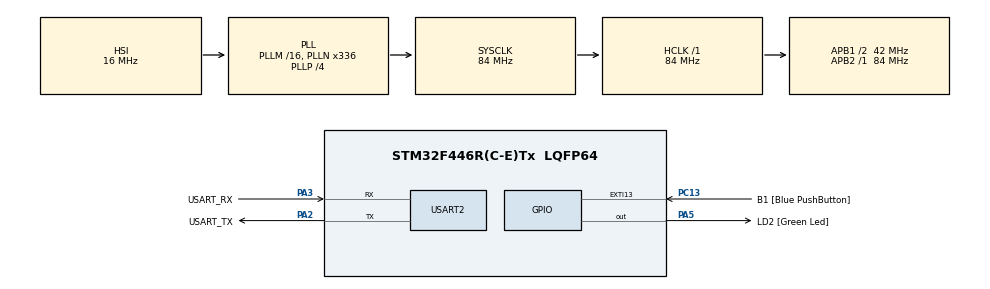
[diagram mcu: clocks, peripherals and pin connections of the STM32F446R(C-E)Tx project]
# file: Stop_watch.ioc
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Mcu.Family=STM32F4
Mcu.Name=STM32F446R(C-E)Tx
Mcu.Package=LQFP64
NVIC.EXTI15_10_IRQn=true\:0\:0\:false\:false\:true\:true\:true\:true
NVIC.PriorityGroup=NVIC_PRIORITYGROUP_0
NVIC.TIM2_IRQn=true\:0\:0\:false\:false\:true\:true\:true\:true
PA13.GPIO_Label=TMS
PA13.Mode=Serial_Wire
PA13.Signal=SYS_JTMS-SWDIO
PA14.GPIO_Label=TCK
PA14.Mode=Serial_Wire
PA14.Signal=SYS_JTCK-SWCLK
PA2.GPIO_Label=USART_TX
PA2.Mode=Asynchronous
PA2.Signal=USART2_TX
PA3.GPIO_Label=USART_RX
PA3.Mode=Asynchronous
PA3.Signal=USART2_RX
PA5.GPIO_Label=LD2 [Green Led]
PA5.Signal=GPIO_Output
PB3.GPIO_Label=SWO
PB3.Signal=SYS_JTDO-SWO
PC13.GPIO_Label=B1 [Blue PushButton]
PC13.GPIO_ModeDefaultEXTI=GPIO_MODE_IT_FALLING
PC13.Signal=GPXTI13
PC14-OSC32_IN.Mode=LSE-External-Oscillator
PC14-OSC32_IN.Signal=RCC_OSC32_IN
PC15-OSC32_OUT.Mode=LSE-External-Oscillator
PC15-OSC32_OUT.Signal=RCC_OSC32_OUT
PH0-OSC_IN.Mode=HSE-External-Oscillator
PH0-OSC_IN.Signal=RCC_OSC_IN
PH1-OSC_OUT.Mode=HSE-External-Oscillator
PH1-OSC_OUT.Signal=RCC_OSC_OUT
ProjectManager.HeapSize=0x200
ProjectManager.StackSize=0x400
ProjectManager.TargetToolchain=STM32CubeIDE
RCC.48MHZClocksFreq_Value=84000000
RCC.AHBFreq_Value=84000000
RCC.APB1CLKDivider=RCC_HCLK_DIV2
RCC.APB1Freq_Value=42000000
RCC.APB1TimFreq_Value=84000000
RCC.APB2Freq_Value=84000000
RCC.APB2TimFreq_Value=84000000
RCC.CortexFreq_Value=84000000
RCC.FLatency-AdvancedSettings=FLASH_LATENCY_2
RCC.HCLKFreq_Value=84000000
RCC.HSE_VALUE=8000000
RCC.HSI_VALUE=16000000
RCC.PLLN=336
RCC.PLLP=RCC_PLLP_DIV4
RCC.SYSCLKFreq_VALUE=84000000
RCC.SYSCLKSource=RCC_SYSCLKSOURCE_PLLCLK
RCC.USBFreq_Value=168000000
RCC.VCOOutputFreq_Value=336000000
TIM2.Period=1000-1
TIM2.Prescaler=84-1
USART2.VirtualMode=VM_ASYNC
VP_TIM2_VS_ClockSourceINT.Mode=Internal
board=NUCLEO-F446RE

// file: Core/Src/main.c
/* USER CODE BEGIN Header */
/**
 ******************************************************************************
 * @file           : main.c
 * @brief          : Main program body
 ******************************************************************************
 * @attention
 *
 * Copyright (c) 2025 STMicroelectronics.
 * All rights reserved.
 *
 * This software is licensed under terms that can be found in the LICENSE file
 * in the root directory of this software component.
 * If no LICENSE file comes with this software, it is provided AS-IS.
 *
 ******************************************************************************
 */
/* USER CODE END Header */
#include "main.h"

/* USER CODE BEGIN Includes */
#include <stdio.h>
#include <string.h>
#include <stdbool.h>
/* USER CODE END Includes */

TIM_HandleTypeDef htim2;

UART_HandleTypeDef huart2;

/* USER CODE BEGIN PV */
volatile uint32_t ms = 0;
volatile bool stopwatch_running = false;
uint32_t last_display_time = 0;
/* USER CODE END PV */

void SystemClock_Config(void);
static void MX_GPIO_Init(void);
static void MX_TIM2_Init(void);
static void MX_USART2_UART_Init(void);

/* USER CODE BEGIN 0 */
void format_stopwatch_time(uint32_t ms_time)
{
  char buffer[20];
  uint32_t hours = ms_time / 3600000;
  uint32_t minutes = (ms_time % 3600000) / 60000;
  uint32_t seconds = (ms_time % 60000) / 1000;
  uint32_t milliseconds = ms_time % 1000;

  sprintf(buffer, "%02lu:%02lu:%02lu.%03lu\r\n", hours, minutes, seconds, milliseconds);
  HAL_UART_Transmit(&huart2, (uint8_t *)buffer, strlen(buffer), HAL_MAX_DELAY);
}
/* USER CODE END 0 */

int main(void)
{

  /* MCU Configuration--------------------------------------------------------*/

  /* Reset of all peripherals, Initializes the Flash interface and the Systick. */
  HAL_Init();

  /* Configure the system clock */
  SystemClock_Config();

  /* Initialize all configured peripherals */
  MX_GPIO_Init();
  MX_TIM2_Init();
  MX_USART2_UART_Init();
  /* USER CODE BEGIN 2 */
  // Don't start timer here - start it when button is pressed
  // HAL_TIM_Base_Start(&htim2);
  HAL_UART_Transmit(&huart2, (uint8_t *)"Stopwatch Ready - Press Button to Start/Stop\r\n", 47, HAL_MAX_DELAY);
  /* USER CODE END 2 */

  /* Infinite loop */
  /* USER CODE BEGIN WHILE */
  while (1)
  {
    // Display time every 100ms when running
    if (stopwatch_running && (HAL_GetTick() - last_display_time >= 100))
    {
      format_stopwatch_time(ms);
      last_display_time = HAL_GetTick();
    }
    HAL_Delay(10); // Small delay to prevent CPU overload
  }
  /* USER CODE END WHILE */

}

void SystemClock_Config(void)
{
  RCC_OscInitTypeDef RCC_OscInitStruct = {0};
  RCC_ClkInitTypeDef RCC_ClkInitStruct = {0};

  /** Configure the main internal regulator output voltage
   */
  __HAL_RCC_PWR_CLK_ENABLE();
  __HAL_PWR_VOLTAGESCALING_CONFIG(PWR_REGULATOR_VOLTAGE_SCALE3);

  /** Initializes the RCC Oscillators according to the specified parameters
   * in the RCC_OscInitTypeDef structure.
   */
  RCC_OscInitStruct.OscillatorType = RCC_OSCILLATORTYPE_HSI;
  RCC_OscInitStruct.HSIState = RCC_HSI_ON;
  RCC_OscInitStruct.HSICalibrationValue = RCC_HSICALIBRATION_DEFAULT;
  RCC_OscInitStruct.PLL.PLLState = RCC_PLL_ON;
  RCC_OscInitStruct.PLL.PLLSource = RCC_PLLSOURCE_HSI;
  RCC_OscInitStruct.PLL.PLLM = 16;
  RCC_OscInitStruct.PLL.PLLN = 336;
  RCC_OscInitStruct.PLL.PLLP = RCC_PLLP_DIV4;
  RCC_OscInitStruct.PLL.PLLQ = 2;
  RCC_OscInitStruct.PLL.PLLR = 2;
  if (HAL_RCC_OscConfig(&RCC_OscInitStruct) != HAL_OK)
  {
    Error_Handler();
  }

  /** Initializes the CPU, AHB and APB buses clocks
   */
  RCC_ClkInitStruct.ClockType = RCC_CLOCKTYPE_HCLK | RCC_CLOCKTYPE_SYSCLK | RCC_CLOCKTYPE_PCLK1 | RCC_CLOCKTYPE_PCLK2;
  RCC_ClkInitStruct.SYSCLKSource = RCC_SYSCLKSOURCE_PLLCLK;
  RCC_ClkInitStruct.AHBCLKDivider = RCC_SYSCLK_DIV1;
  RCC_ClkInitStruct.APB1CLKDivider = RCC_HCLK_DIV2;
  RCC_ClkInitStruct.APB2CLKDivider = RCC_HCLK_DIV1;

  if (HAL_RCC_ClockConfig(&RCC_ClkInitStruct, FLASH_LATENCY_2) != HAL_OK)
  {
    Error_Handler();
  }
}

static void MX_TIM2_Init(void)
{

  TIM_ClockConfigTypeDef sClockSourceConfig = {0};
  TIM_MasterConfigTypeDef sMasterConfig = {0};

  htim2.Instance = TIM2;
  htim2.Init.Prescaler = 84 - 1;        // For 84MHz clock, this gives 1MHz timer clock
  htim2.Init.CounterMode = TIM_COUNTERMODE_UP;
  htim2.Init.Period = 1000 - 1;         // 1ms period (1MHz/1000 = 1kHz = 1ms)
  htim2.Init.ClockDivision = TIM_CLOCKDIVISION_DIV1;
  htim2.Init.AutoReloadPreload = TIM_AUTORELOAD_PRELOAD_DISABLE;
  if (HAL_TIM_Base_Init(&htim2) != HAL_OK)
  {
    Error_Handler();
  }
  sClockSourceConfig.ClockSource = TIM_CLOCKSOURCE_INTERNAL;
  if (HAL_TIM_ConfigClockSource(&htim2, &sClockSourceConfig) != HAL_OK)
  {
    Error_Handler();
  }
  sMasterConfig.MasterOutputTrigger = TIM_TRGO_RESET;
  sMasterConfig.MasterSlaveMode = TIM_MASTERSLAVEMODE_DISABLE;
  if (HAL_TIMEx_MasterConfigSynchronization(&htim2, &sMasterConfig) != HAL_OK)
  {
    Error_Handler();
  }
  /* USER CODE BEGIN TIM2_Init 2 */
  // Enable timer interrupt
  HAL_NVIC_SetPriority(TIM2_IRQn, 0, 1);
  HAL_NVIC_EnableIRQ(TIM2_IRQn);
  /* USER CODE END TIM2_Init 2 */
}

static void MX_USART2_UART_Init(void)
{

  huart2.Instance = USART2;
  huart2.Init.BaudRate = 115200;
  huart2.Init.WordLength = UART_WORDLENGTH_8B;
  huart2.Init.StopBits = UART_STOPBITS_1;
  huart2.Init.Parity = UART_PARITY_NONE;
  huart2.Init.Mode = UART_MODE_TX_RX;
  huart2.Init.HwFlowCtl = UART_HWCONTROL_NONE;
  huart2.Init.OverSampling = UART_OVERSAMPLING_16;
  if (HAL_UART_Init(&huart2) != HAL_OK)
  {
    Error_Handler();
  }
}

static void MX_GPIO_Init(void)
{
  GPIO_InitTypeDef GPIO_InitStruct = {0};

  /* GPIO Ports Clock Enable */
  __HAL_RCC_GPIOC_CLK_ENABLE();
  __HAL_RCC_GPIOH_CLK_ENABLE();
  __HAL_RCC_GPIOA_CLK_ENABLE();
  __HAL_RCC_GPIOB_CLK_ENABLE();

  /*Configure GPIO pin Output Level */
  HAL_GPIO_WritePin(LD2_GPIO_Port, LD2_Pin, GPIO_PIN_RESET);

  /*Configure GPIO pin : B1_Pin */
  GPIO_InitStruct.Pin = B1_Pin;
  GPIO_InitStruct.Mode = GPIO_MODE_IT_FALLING;
  GPIO_InitStruct.Pull = GPIO_NOPULL;
  HAL_GPIO_Init(B1_GPIO_Port, &GPIO_InitStruct);

  /*Configure GPIO pin : LD2_Pin */
  GPIO_InitStruct.Pin = LD2_Pin;
  GPIO_InitStruct.Mode = GPIO_MODE_OUTPUT_PP;
  GPIO_InitStruct.Pull = GPIO_NOPULL;
  GPIO_InitStruct.Speed = GPIO_SPEED_FREQ_LOW;
  HAL_GPIO_Init(LD2_GPIO_Port, &GPIO_InitStruct);

  /* EXTI interrupt init*/
  HAL_NVIC_SetPriority(EXTI15_10_IRQn, 0, 0);
  HAL_NVIC_EnableIRQ(EXTI15_10_IRQn);

}

/* USER CODE BEGIN 4 */
void HAL_GPIO_EXTI_Callback(uint16_t GPIO_Pin)
{
  static uint32_t last_interrupt_time = 0;
  uint32_t current_time = HAL_GetTick();

  // Debounce - ignore if pressed within 200ms
  if (current_time - last_interrupt_time < 200)
  {
    return;
  }
  last_interrupt_time = current_time;

  if (GPIO_Pin == B1_Pin) // Button pressed
  {
    if (!stopwatch_running)
    {
      // Start stopwatch
      stopwatch_running = true;
      HAL_TIM_Base_Start_IT(&htim2); // Start timer with interrupt
      HAL_UART_Transmit(&huart2, (uint8_t *)"Stopwatch Started\r\n", 19, HAL_MAX_DELAY);
    }
    else
    {
      // Stop stopwatch
      stopwatch_running = false;
      HAL_TIM_Base_Stop_IT(&htim2); // Stop timer
      HAL_UART_Transmit(&huart2, (uint8_t *)"Stopwatch Stopped\r\n", 19, HAL_MAX_DELAY);
      format_stopwatch_time(ms); // Show final time
    }
  }
}

void HAL_TIM_PeriodElapsedCallback(TIM_HandleTypeDef *htim)
{
  if (htim->Instance == TIM2 && stopwatch_running)
  {
    ms++;
  }
}
/* USER CODE END 4 */

void Error_Handler(void)
{
  __disable_irq();
  while (1)
  {
  }
}
